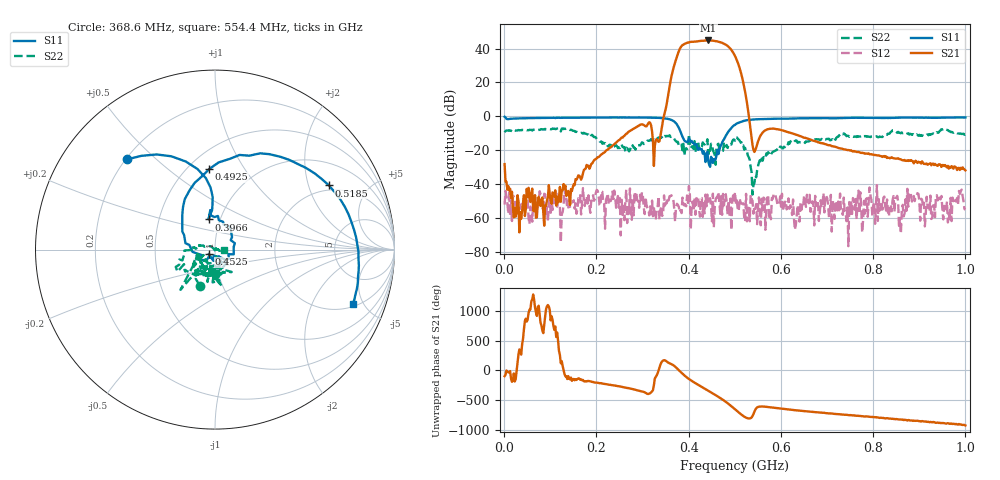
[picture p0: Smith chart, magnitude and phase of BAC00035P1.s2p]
!measured: 2026-10-27T15:09:55
!cal_instance: BBtestOct27
!cal_created: 2026-10-27T14:45
!cal_file: BBtesting.cal
!port1_delay_ps: -58.63
!port2_delay_ps: -59.31
!host: dhcp-10-250-247-203.harvard.edu
! Created with skrf 2.1.0 (http://scikit-rf.org).
# Hz S RI R 50.0
!freq ReS11 ImS11 ReS21 ImS21 ReS12 ImS12 ReS22 ImS22
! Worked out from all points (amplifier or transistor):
!   501 points, 1 MHz to 1 GHz, reference 50 ohm
!   highest |S21| = 44.8 dB at 442.6 MHz (marker M1)
!   |S21| within 3 dB of that: 385.8 MHz to 483.2 MHz (97.41 MHz wide, 22.4 % of centre)
!   unconditionally stable (mu >= 1): start of sweep to 400 MHz; 402.6 MHz to 463.6 MHz; 464.9 MHz to end of sweep
!   at 166.8 MHz: K = 4456.79, MAG = -29.2 dB, |S12| = -58.0 dB
!   at 500.5 MHz: K = 1.21, MAG = 37.4 dB, |S12| = -44.7 dB
!   at 1 GHz: K = 1490.68, MAG = -23.1 dB, |S12| = -55.2 dB
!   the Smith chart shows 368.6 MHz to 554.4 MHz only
!   S11 on the Smith chart (normalised r, x): 368.6 MHz: 0.21, +0.41; 396.6 MHz: 0.88, +0.31; 452.5 MHz: 0.93, -0.04; 492.5 MHz: 0.63, +0.71; 518.5 MHz: 1.80, +2.74; 554.4 MHz: 2.19, -4.17
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1000000  -0.3317 0.914  -0.0033 -0.0386  -0.000398 0.00243  0.3378 0.00758
1.68832e8  0.5 -0.7635  -0.0149 -0.00448  -0.00247 -0.000121  -0.0322 -0.3205
3.34666e8  -0.8348 -0.338  0.176 -0.0134  -0.00297 0.00314  0.0503 -0.2319
3.68632e8  -0.4903 0.5023  6.579 30.97  7.17e-05 0.00197  -0.0847 -0.2006
3.82618e8  -0.0248 0.3458  98.79 -46.42  -0.00131 0.00108  -0.1089 -0.0758
3.9061e8  -0.029 0.1926  20.93 -135.2  0.000211 0.00232  -0.0634 -0.0303
3.96604e8  -0.0342 0.1678  -73.73 -129.2  -0.00457 8.78e-05  -0.0982 -0.0432
4.08592e8  0.0217 0.1636  -159.1 11.4  -0.00261 0.00151  -0.0309 -0.1251
4.24576e8  0.1051 0.0181  -32.87 165.9  0.000973 -0.000477  -0.0235 -0.1241
4.32568e8  0.0772 -0.0512  71.5 155.3  0.00289 0.000888  0.0227 -0.1502
4.42558e8  0.0249 -0.0408  163.6 61.02  -0.00267 -0.000254  -0.0519 -0.0542
4.52548e8  -0.0347 -0.0235  155.8 -73.1  0.00233 -0.00463  -0.0987 -0.0308
4.64536e8  -0.0698 -0.0315  22.51 -158.8  -0.0015 -0.00558  0.0934 -0.1248
4.76524e8  -0.182 0.1003  -112.6 -83.86  -0.000333 -0.0023  -0.0137 -0.1716
4.84516e8  -0.169 0.2797  -119 17.33  -0.00113 0.000569  0.007 -0.1158
4.92508e8  -0.0317 0.4491  -49.88 78.07  0.000186 -0.000392  -0.0764 -0.1249
5.005e8  0.1914 0.5233  20.03 57.09  0.00575 -0.000763  -0.1727 -0.0813
5.18482e8  0.6349 0.3576  7.28 -6.799  -0.00237 -0.00129  -0.1376 0.0135
5.54446e8  0.7685 -0.3025  -0.1038 0.2253  -0.000229 -0.00102  0.0507 -0.00284
6.68332e8  0.091 -0.8788  0.1742 0.0856  0.00139 -0.00275  0.0401 -0.181
8.34166e8  -0.5771 -0.6857  0.00437 -0.0597  -0.000221 -0.00108  -0.1852 -0.2434
1e9  -0.8843 -0.2717  -0.0236 0.00917  0.00172 -0.000253  -0.2411 -0.1721
